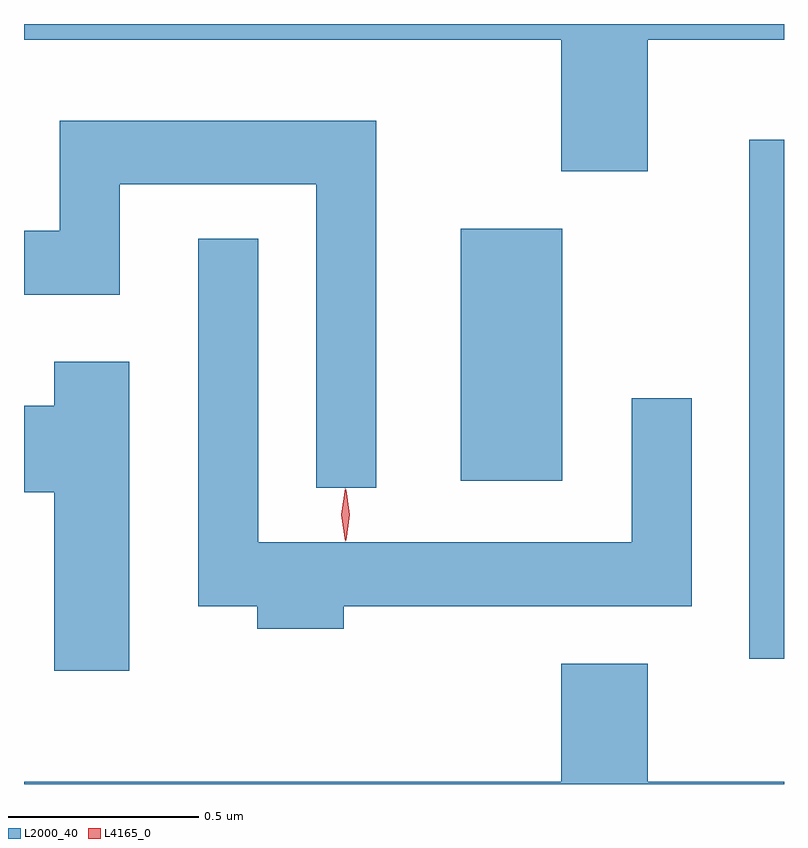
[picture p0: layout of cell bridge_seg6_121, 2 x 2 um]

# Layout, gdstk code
import gdstk
lib = gdstk.Library(unit=1e-6, precision=1e-09)
def R(c, l, rs):  # rectangles x0, y0, x1, y1
    for r in rs: c.add(gdstk.rectangle(r[:2], r[2:], *l))
def P(c, l, *ps):  # polygons
    for p in ps: c.add(gdstk.Polygon(p, *l))
L2000_40 = (2000, 40)
L4165_0 = (4165, 0)

bridge_seg6_121 = lib.new_cell('bridge_seg6_121')
R(bridge_seg6_121, L2000_40, [(1051.846,1606.128,1051.937,1607.494), (1051.086,1606.596,1051.354,1607.259)])
P(bridge_seg6_121, L2000_40, [(1051.579,1607.756),(1051.937,1607.756),(1051.937,1607.798),(1049.937,1607.798),(1049.937,1607.756),(1051.351,1607.756),(1051.351,1607.411),(1051.579,1607.411)],
  [(1050.864,1607.544),(1050.031,1607.544),(1050.031,1607.254),(1049.937,1607.254),(1049.937,1607.086),(1050.189,1607.086),(1050.189,1607.376),(1050.706,1607.376),(1050.706,1606.578),(1050.864,1606.578)],
  [(1050.779,1606.266),(1051.694,1606.266),(1051.694,1606.813),(1051.536,1606.813),(1051.536,1606.434),(1050.554,1606.434),(1050.554,1607.233),(1050.396,1607.233),(1050.396,1606.266),(1050.551,1606.266),(1050.551,1606.206),(1050.779,1606.206)],
  [(1050.214,1606.909),(1050.016,1606.909),(1050.016,1606.794),(1049.937,1606.794),(1049.937,1606.566),(1050.016,1606.566),(1050.016,1606.096),(1050.214,1606.096)],
  [(1051.937,1605.804),(1051.579,1605.804),(1051.579,1606.114),(1051.351,1606.114),(1051.351,1605.804),(1049.937,1605.804),(1049.937,1605.798),(1051.937,1605.798)])
P(bridge_seg6_121, L4165_0, [(1050.782,1606.437),(1050.782,1606.437),(1050.772,1606.507),(1050.782,1606.576),(1050.782,1606.576),(1050.783,1606.576),(1050.792,1606.507),(1050.783,1606.437)],
  [(1050.784,1606.439),(1050.784,1606.44),(1050.774,1606.506),(1050.784,1606.572),(1050.784,1606.573),(1050.785,1606.572),(1050.794,1606.506),(1050.785,1606.44)])

lib.write_gds('bridge_seg6_121.gds')
